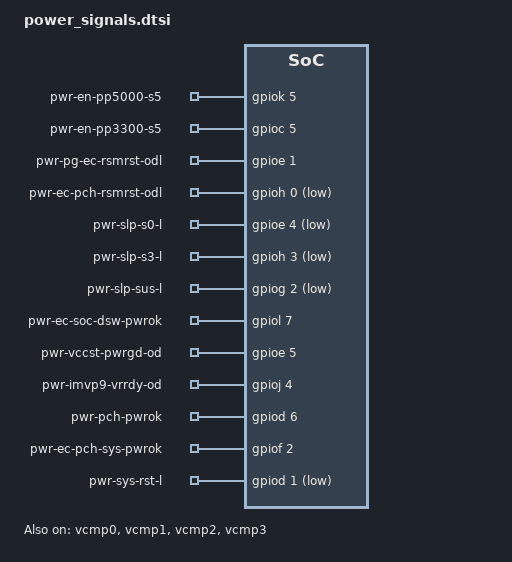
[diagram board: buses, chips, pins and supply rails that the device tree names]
/* Copyright 2023 The ChromiumOS Authors
 * Use of this source code is governed by a BSD-style license that can be
 * found in the LICENSE file.
 */

/ {
	chosen {
		intel-ap-pwrseq,espi = &espi0;
	};

	common-pwrseq {
		compatible = "intel,ap-pwrseq";

		sys-pwrok-delay = <10>;
		all-sys-pwrgd-timeout = <20>;
	};

	pwr-en-pp5000-s5 {
		compatible = "intel,ap-pwrseq-gpio";
		dbg-label = "PP5000_S5 enable output to regulator";
		enum-name = "PWR_EN_PP5000_A";
		gpios = <&gpiok 5 0>;
		output;
	};
	pwr-en-pp3300-s5 {
		compatible = "intel,ap-pwrseq-gpio";
		dbg-label = "PP3300_S5 enable output to LS";
		enum-name = "PWR_EN_PP3300_A";
		gpios = <&gpioc 5 0>;
		output;
	};
	pwr-pg-ec-rsmrst-odl {
		compatible = "intel,ap-pwrseq-gpio";
		dbg-label = "RSMRST power good from regulator";
		enum-name = "PWR_RSMRST_PWRGD";
		gpios = <&gpioe 1 0>;
		interrupt-flags = <GPIO_INT_EDGE_BOTH>;
	};
	pwr-ec-pch-rsmrst-odl {
		compatible = "intel,ap-pwrseq-gpio";
		dbg-label = "RSMRST output to PCH";
		enum-name = "PWR_EC_PCH_RSMRST";
		gpios = <&gpioh 0 GPIO_ACTIVE_LOW>;
		reset-val = <1>;
		output;
	};
	pwr-slp-s0-l {
		compatible = "intel,ap-pwrseq-gpio";
		dbg-label = "SLP_S0_L input from PCH";
		enum-name = "PWR_SLP_S0";
		gpios = <&gpioe 4 GPIO_ACTIVE_LOW>;
		interrupt-flags = <GPIO_INT_EDGE_BOTH>;
	};
	pwr-slp-s3-l {
		compatible = "intel,ap-pwrseq-gpio";
		dbg-label = "SLP_S3_L input from PCH";
		enum-name = "PWR_SLP_S3";
		gpios = <&gpioh 3 GPIO_ACTIVE_LOW>;
		interrupt-flags = <GPIO_INT_EDGE_BOTH>;
	};
	pwr-slp-sus-l {
		compatible = "intel,ap-pwrseq-gpio";
		dbg-label = "SLP_SUS_L input from PCH";
		enum-name = "PWR_SLP_SUS";
		gpios = <&gpiog 2 GPIO_ACTIVE_LOW>;
		interrupt-flags = <GPIO_INT_EDGE_BOTH>;
	};
	pwr-ec-soc-dsw-pwrok {
		compatible = "intel,ap-pwrseq-gpio";
		dbg-label = "DSW_PWROK output to PCH";
		enum-name = "PWR_EC_SOC_DSW_PWROK";
		gpios = <&gpiol 7 0>;
		output;
	};
	pwr-vccst-pwrgd-od {
		compatible = "intel,ap-pwrseq-gpio";
		dbg-label = "VCCST_PWRGD output to PCH";
		enum-name = "PWR_VCCST_PWRGD";
		gpios = <&gpioe 5 (GPIO_OPEN_DRAIN | GPIO_VOLTAGE_1P8)>;
		output;
	};
	pwr-imvp9-vrrdy-od {
		compatible = "intel,ap-pwrseq-gpio";
		dbg-label = "VRRDY input from IMVP9";
		enum-name = "PWR_IMVP9_VRRDY";
		gpios = <&gpioj 4 0>;
	};
	pwr-pch-pwrok {
		compatible = "intel,ap-pwrseq-gpio";
		dbg-label = "PCH_PWROK output to PCH";
		enum-name = "PWR_PCH_PWROK";
		gpios = <&gpiod 6 GPIO_OPEN_DRAIN>;
		output;
	};
	pwr-ec-pch-sys-pwrok {
		compatible = "intel,ap-pwrseq-gpio";
		dbg-label = "SYS_PWROK output to PCH";
		enum-name = "PWR_EC_PCH_SYS_PWROK";
		gpios = <&gpiof 2 0>;
		output;
	};
	pwr-sys-rst-l {
		compatible = "intel,ap-pwrseq-gpio";
		dbg-label = "SYS_RESET# output to PCH";
		enum-name = "PWR_SYS_RST";
		gpios = <&gpiod 1 (GPIO_ACTIVE_LOW|GPIO_OPEN_DRAIN)>;
		output;
	};
	pwr-slp-s4 {
		compatible = "intel,ap-pwrseq-vw";
		dbg-label = "SLP_S4 virtual wire input from PCH";
		enum-name = "PWR_SLP_S4";
		virtual-wire = "ESPI_VWIRE_SIGNAL_SLP_S4";
		reset-val = <1>;
		vw-invert;
	};
	pwr-slp-s5 {
		compatible = "intel,ap-pwrseq-vw";
		dbg-label = "SLP_S5 virtual wire input from PCH";
		enum-name = "PWR_SLP_S5";
		virtual-wire = "ESPI_VWIRE_SIGNAL_SLP_S5";
		reset-val = <1>;
		vw-invert;
	};
	pwr-all-sys-pwrgd {
		/*
		 * This is a board level signal, since this
		 * signal needs some special processing.
		 */
		compatible = "intel,ap-pwrseq-external";
		dbg-label = "Combined all power good";
		enum-name = "PWR_ALL_SYS_PWRGD";
	};
	pwr-adc-pp3300 {
		compatible = "intel,ap-pwrseq-adc";
		dbg-label = "PP3300_PROC";
		enum-name = "PWR_DSW_PWROK";
		trigger-high = <&vcmp0>;
		trigger-low = <&vcmp1>;
	};
	pwr-adc-pp1p05 {
		compatible = "intel,ap-pwrseq-adc";
		dbg-label = "PP1P05_PROC";
		enum-name = "PWR_PG_PP1P05";
		trigger-high = <&vcmp2>;
		trigger-low = <&vcmp3>;
	};

};

/*
 * Because the power signals directly reference the GPIOs,
 * the correspinding named-gpios need to have no-auto-init set.
 */
&gpio_ec_soc_dsw_pwrok {
	no-auto-init;
};
&gpio_ec_soc_pch_pwrok_od {
	no-auto-init;
};
&gpio_ec_soc_rsmrst_l {
	no-auto-init;
};
&gpio_ec_soc_sys_pwrok {
	no-auto-init;
};
&gpio_ec_soc_vccst_pwrgd_od {
	no-auto-init;
};
&gpio_en_pp3300_s5 {
	no-auto-init;
};
&gpio_en_pp5000_s5 {
	no-auto-init;
};
&gpio_imvp91_vrrdy_od {
	no-auto-init;
};
&gpio_rsmrst_pwrgd_l {
	no-auto-init;
};
&gpio_slp_s0_l {
	no-auto-init;
};
&gpio_slp_s3_l {
	no-auto-init;
};
&gpio_slp_sus_l {
	no-auto-init;
};
&gpio_sys_rst_odl {
	no-auto-init;
};
&vcmp0 {
	status = "okay";
	scan-period = <IT8XXX2_VCMP_SCAN_PERIOD_600US>;
	comparison = <IT8XXX2_VCMP_GREATER>;
	/*
	 * This is 90% of nominal voltage considering voltage
	 * divider on ADC input.
	 */
	threshold-mv = <2448>;
	io-channels = <&adc0 0>;
};
&vcmp1 {
	status = "okay";
	scan-period = <IT8XXX2_VCMP_SCAN_PERIOD_600US>;
	comparison = <IT8XXX2_VCMP_LESS_OR_EQUAL>;
	threshold-mv = <2448>;
	io-channels = <&adc0 0>;
};
&vcmp2 {
	status = "okay";
	scan-period = <IT8XXX2_VCMP_SCAN_PERIOD_600US>;
	comparison = <IT8XXX2_VCMP_GREATER>;
	/* Setting at 90% of nominal voltage */
	threshold-mv = <945>;
	io-channels = <&adc0 14>;
};
&vcmp3 {
	status = "okay";
	scan-period = <IT8XXX2_VCMP_SCAN_PERIOD_600US>;
	comparison = <IT8XXX2_VCMP_LESS_OR_EQUAL>;
	threshold-mv = <945>;
	io-channels = <&adc0 14>;
};
